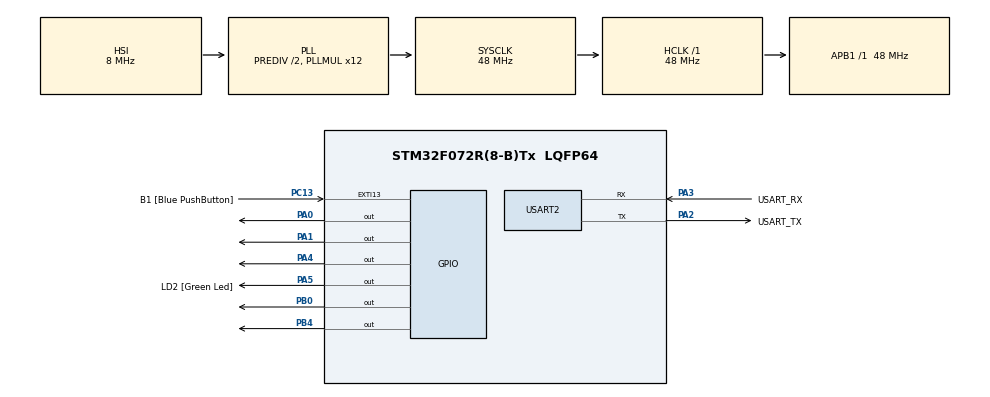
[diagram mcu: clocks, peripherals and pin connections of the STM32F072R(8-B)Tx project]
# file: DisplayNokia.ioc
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Mcu.Family=STM32F0
Mcu.Name=STM32F072R(8-B)Tx
Mcu.Package=LQFP64
PA0.Signal=GPIO_Output
PA1.Signal=GPIO_Output
PA13.GPIO_Label=TMS
PA13.Mode=Serial-WireDebug
PA13.Signal=SYS_SWDIO
PA14.GPIO_Label=TCK
PA14.Mode=Serial-WireDebug
PA14.Signal=SYS_SWCLK
PA2.GPIO_Label=USART_TX
PA2.GPIO_Mode=GPIO_MODE_AF_PP
PA2.GPIO_PuPd=GPIO_NOPULL
PA2.GPIO_Speed=GPIO_SPEED_LOW
PA2.Mode=Asynchronous
PA2.Signal=USART2_TX
PA3.GPIO_Label=USART_RX
PA3.GPIO_Mode=GPIO_MODE_AF_PP
PA3.GPIO_PuPd=GPIO_NOPULL
PA3.GPIO_Speed=GPIO_SPEED_LOW
PA3.Mode=Asynchronous
PA3.Signal=USART2_RX
PA4.Signal=GPIO_Output
PA5.GPIO_Label=LD2 [Green Led]
PA5.GPIO_Mode=GPIO_MODE_OUTPUT_PP
PA5.GPIO_PuPd=GPIO_NOPULL
PA5.GPIO_Speed=GPIO_SPEED_LOW
PA5.Signal=GPIO_Output
PB0.Signal=GPIO_Output
PB4.Signal=GPIO_Output
PC13.GPIO_Label=B1 [Blue PushButton]
PC13.GPIO_ModeDefaultEXTI=GPIO_MODE_EVT_RISING
PC13.Signal=GPXTI13
PC14-OSC32_IN.Signal=RCC_OSC32_IN
PC15-OSC32_OUT.Signal=RCC_OSC32_OUT
PF0-OSC_IN.Signal=RCC_OSC_IN
PF1-OSC_OUT.Signal=RCC_OSC_OUT
ProjectManager.TargetToolchain=MDK-ARM V5
RCC.AHBFreq_Value=48000000
RCC.APB1Freq_Value=48000000
RCC.APB1TimFreq_Value=48000000
RCC.FLatency-AdvancedSettings=FLASH_LATENCY_1
RCC.HCLKFreq_Value=48000000
RCC.PLLDivider=RCC_PREDIV_DIV2
RCC.PLLMUL=RCC_PLL_MUL12
RCC.SYSCLKFreq_VALUE=48000000
RCC.SYSCLKSource=RCC_SYSCLKSOURCE_PLLCLK
USART2.WordLength=UART_WORDLENGTH_8B
board=NUCLEO-F072RB

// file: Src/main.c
/**
  ******************************************************************************
  * File Name          : main.c
  * Description        : Main program body
  ******************************************************************************
  *
  * COPYRIGHT(c) 2016 STMicroelectronics
  *
  * Redistribution and use in source and binary forms, with or without modification,
  * are permitted provided that the following conditions are met:
  *   1. Redistributions of source code must retain the above copyright notice,
  *      this list of conditions and the following disclaimer.
  *   2. Redistributions in binary form must reproduce the above copyright notice,
  *      this list of conditions and the following disclaimer in the documentation
  *      and/or other materials provided with the distribution.
  *   3. Neither the name of STMicroelectronics nor the names of its contributors
  *      may be used to endorse or promote products derived from this software
  *      without specific prior written permission.
  *
  * THIS SOFTWARE IS PROVIDED BY THE COPYRIGHT HOLDERS AND CONTRIBUTORS "AS IS"
  * AND ANY EXPRESS OR IMPLIED WARRANTIES, INCLUDING, BUT NOT LIMITED TO, THE
  * IMPLIED WARRANTIES OF MERCHANTABILITY AND FITNESS FOR A PARTICULAR PURPOSE ARE
  * DISCLAIMED. IN NO EVENT SHALL THE COPYRIGHT HOLDER OR CONTRIBUTORS BE LIABLE
  * FOR ANY DIRECT, INDIRECT, INCIDENTAL, SPECIAL, EXEMPLARY, OR CONSEQUENTIAL
  * DAMAGES (INCLUDING, BUT NOT LIMITED TO, PROCUREMENT OF SUBSTITUTE GOODS OR
  * SERVICES; LOSS OF USE, DATA, OR PROFITS; OR BUSINESS INTERRUPTION) HOWEVER
  * CAUSED AND ON ANY THEORY OF LIABILITY, WHETHER IN CONTRACT, STRICT LIABILITY,
  * OR TORT (INCLUDING NEGLIGENCE OR OTHERWISE) ARISING IN ANY WAY OUT OF THE USE
  * OF THIS SOFTWARE, EVEN IF ADVISED OF THE POSSIBILITY OF SUCH DAMAGE.
  *
  ******************************************************************************
  */
#include "stm32f0xx_hal.h"

/* USER CODE BEGIN Includes */

#include <string.h>

/* USER CODE END Includes */

UART_HandleTypeDef huart2;

/* USER CODE BEGIN PV */
/* Private variables ---------------------------------------------------------*/

/*
  Commands and Color specification codes (Epson S1D15G00)
  Author: Nicolas Nascimento (nicolas.nascimento@acad.pucrs.br)
*/

#define NOP   			0x00   		// NOP
#define SWRESET  		0x01      // Software reset
#define BSTROFF  		0x02      // Booster Voltage Off
#define BSTRON  		0x03      // Booster Voltage On
#define RDDIDIF  		0x04      // Read display identification
#define RDDST  			0x09      // Read display status
#define SLEEPIN   	0x10      // Sleep in
#define SLEEPOUT  	0x11      // Sleep out
#define PTLON   		0x12      // Partial display mode
#define NORON   		0x13      // Display normal mode
#define INVOFF  		0x20      // Inversion off
#define INVON 			0x21      // Inversion on
#define DALO   			0x22      // All pixel off
#define DAL   			0x23      // All pixel on
#define SETCON   		0x25      // Write contrast
#define DISPOFF  		0x28      // Display off
#define DISPON   		0x29      // Display on
#define CASET  			0x2A      // Column address set
#define PASET  			0x2B      // Page address set
#define RAMWR 			0x2C      // Memory write
#define RGBSET   		0x2D      // Color set
#define PTLAR  			0x30      // Partial area
#define VSCRDEF  		0x33      // Vertical scrolling definition
#define TEOFF  			0x34      // Test mode
#define TEON   			0x35      // Test mode
#define MADCTL 			0x36      // Memory access control
#define SEP  				0x37      // Vertical scrolling start address
#define IDMOFF  		0x38      // Idle mode off
#define IDMON  			0x39      // Idle mode on
#define COLMOD   		0x3A      // Interface pixel format
#define SETVOP   		0xB0      // Set vop
#define BRS 				0xB4      // Bottom row swap
#define TRS 				0xB6      // Top row swap
#define DISCTR     	0xB9      // Display control
#define DOR     		0xBA      // Data order
#define TCDFE     	0xBD      // Enable/Disable DF Temperature compensation
#define TCVOPE     	0xBF      // Enable/Disable VOP Temp. comp
#define EC     			0xC0      // Internal or external oscilator
#define SETMUL     	0xC2      // Set multiplication factor
#define TCVOPAB     0xC3      // Set TCVOP Slopes A and B
#define TCVOPCD     0xC4      // Set TCVOP Slopes C and D
#define TCDF     		0xC5      // Set divider frequency
#define DF8COLOR    0xC6      // Set divider frequency 8-color mode
#define SETBS     	0xC7      // Set bias system
#define RDTEMP     	0xC8      // Temperature read back
#define NLI 				0xC9			// N-line inversion
#define RDID1 			0xDA			// Read ID1
#define RDID2 			0xDB			// Read ID2
#define RDID3 			0xDC			// Read ID3

// Backlight
#define BKLGHT_LCD_ON   1
#define BKLGHT_LCD_OFF  2

// Booleans
#define NOFILL          0
#define FILL            1

// 12-bit color definitions
#define WHITE           0xFFF
#define BLACK           0x000
#define RED             0xF00
#define GREEN           0x0F0
#define BLUE            0x00F
#define CYAN            0x0FF
#define MAGENTA         0xF0F
#define YELLOW          0xFF0
#define BROWN           0xB22
#define ORANGE          0xFA0
#define PINK            0xF6A

// Font sizes
#define SMALL           0
#define MEDIUM          1
#define LARGE           2

// Bit definition
#define BIT(N) (1<<N)

// Hardware definitions
#define SPI_SR_TXEMPTY
#define LCD_RESET_LOW   (GPIOA->BRR = BIT(0))
#define LCD_RESET_HIGH  (GPIOA->BSRR = BIT(0))

const unsigned char FONT6x8[97][8] = {
0x06,0x08,0x08,0x00,0x00,0x00,0x00,0x00,            // Columns, rows, num_bytes_per_char
0x00,0x00,0x00,0x00,0x00,0x00,0x00,0x00,            // space  0x20
0x20,0x20,0x20,0x20,0x20,0x00,0x20,0x00,            // !
0x50,0x50,0x50,0x00,0x00,0x00,0x00,0x00,            // "
0x50,0x50,0xF8,0x50,0xF8,0x50,0x50,0x00,            // #
0x20,0x78,0xA0,0x70,0x28,0xF0,0x20,0x00,            // $
0xC0,0xC8,0x10,0x20,0x40,0x98,0x18,0x00,            // %
0x40,0xA0,0xA0,0x40,0xA8,0x90,0x68,0x00,            // &
0x30,0x30,0x20,0x40,0x00,0x00,0x00,0x00,            // '
0x10,0x20,0x40,0x40,0x40,0x20,0x10,0x00,            // (
0x40,0x20,0x10,0x10,0x10,0x20,0x40,0x00,            // )
0x00,0x20,0xA8,0x70,0x70,0xA8,0x20,0x00,            // *
0x00,0x20,0x20,0xF8,0x20,0x20,0x00,0x00,            // +
0x00,0x00,0x00,0x00,0x30,0x30,0x20,0x40,            // ,
0x00,0x00,0x00,0xF8,0x00,0x00,0x00,0x00,            // -
0x00,0x00,0x00,0x00,0x00,0x30,0x30,0x00,            // .
0x00,0x08,0x10,0x20,0x40,0x80,0x00,0x00,            // / (forward slash)
0x70,0x88,0x88,0xA8,0x88,0x88,0x70,0x00,            // 0
0x20,0x60,0x20,0x20,0x20,0x20,0x70,0x00,            // 1
0x70,0x88,0x08,0x70,0x80,0x80,0xF8,0x00,            // 2
0xF8,0x08,0x10,0x30,0x08,0x88,0x70,0x00,            // 3
0x10,0x30,0x50,0x90,0xF8,0x10,0x10,0x00,            // 4
0xF8,0x80,0xF0,0x08,0x08,0x88,0x70,0x00,            // 5
0x38,0x40,0x80,0xF0,0x88,0x88,0x70,0x00,            // 6
0xF8,0x08,0x08,0x10,0x20,0x40,0x80,0x00,            // 7
0x70,0x88,0x88,0x70,0x88,0x88,0x70,0x00,            // 8
0x70,0x88,0x88,0x78,0x08,0x10,0xE0,0x00,            // 9
0x00,0x00,0x20,0x00,0x20,0x00,0x00,0x00,            // :
0x00,0x00,0x20,0x00,0x20,0x20,0x40,0x00,            // ;
0x08,0x10,0x20,0x40,0x20,0x10,0x08,0x00,            // <
0x00,0x00,0xF8,0x00,0xF8,0x00,0x00,0x00,            // =
0x40,0x20,0x10,0x08,0x10,0x20,0x40,0x00,            // >
0x70,0x88,0x08,0x30,0x20,0x00,0x20,0x00,            // ?
0x70,0x88,0xA8,0xB8,0xB0,0x80,0x78,0x00,            // @
0x20,0x50,0x88,0x88,0xF8,0x88,0x88,0x00,            // A
0xF0,0x88,0x88,0xF0,0x88,0x88,0xF0,0x00,            // B
0x70,0x88,0x80,0x80,0x80,0x88,0x70,0x00,            // C
0xF0,0x88,0x88,0x88,0x88,0x88,0xF0,0x00,            // D
0xF8,0x80,0x80,0xF0,0x80,0x80,0xF8,0x00,            // E
0xF8,0x80,0x80,0xF0,0x80,0x80,0x80,0x00,            // F
0x78,0x88,0x80,0x80,0x98,0x88,0x78,0x00,            // G
0x88,0x88,0x88,0xF8,0x88,0x88,0x88,0x00,            // H
0x70,0x20,0x20,0x20,0x20,0x20,0x70,0x00,            // I
0x38,0x10,0x10,0x10,0x10,0x90,0x60,0x00,            // J
0x88,0x90,0xA0,0xC0,0xA0,0x90,0x88,0x00,            // K
0x80,0x80,0x80,0x80,0x80,0x80,0xF8,0x00,            // L
0x88,0xD8,0xA8,0xA8,0xA8,0x88,0x88,0x00,            // M
0x88,0x88,0xC8,0xA8,0x98,0x88,0x88,0x00,            // N
0x70,0x88,0x88,0x88,0x88,0x88,0x70,0x00,            // O
0xF0,0x88,0x88,0xF0,0x80,0x80,0x80,0x00,            // P
0x70,0x88,0x88,0x88,0xA8,0x90,0x68,0x00,            // Q
0xF0,0x88,0x88,0xF0,0xA0,0x90,0x88,0x00,            // R
0x70,0x88,0x80,0x70,0x08,0x88,0x70,0x00,            // S
0xF8,0xA8,0x20,0x20,0x20,0x20,0x20,0x00,            // T
0x88,0x88,0x88,0x88,0x88,0x88,0x70,0x00,            // U
0x88,0x88,0x88,0x88,0x88,0x50,0x20,0x00,            // V
0x88,0x88,0x88,0xA8,0xA8,0xA8,0x50,0x00,            // W
0x88,0x88,0x50,0x20,0x50,0x88,0x88,0x00,            // X
0x88,0x88,0x50,0x20,0x20,0x20,0x20,0x00,            // Y
0xF8,0x08,0x10,0x70,0x40,0x80,0xF8,0x00,            // Z
0x78,0x40,0x40,0x40,0x40,0x40,0x78,0x00,            // [
0x00,0x80,0x40,0x20,0x10,0x08,0x00,0x00,            // (back slash)
0x78,0x08,0x08,0x08,0x08,0x08,0x78,0x00,            // ]
0x20,0x50,0x88,0x00,0x00,0x00,0x00,0x00,            // ^
0x00,0x00,0x00,0x00,0x00,0x00,0xF8,0x00,            // _
0x60,0x60,0x20,0x10,0x00,0x00,0x00,0x00,            // `
0x00,0x00,0x60,0x10,0x70,0x90,0x78,0x00,            // a
0x80,0x80,0xB0,0xC8,0x88,0xC8,0xB0,0x00,            // b
0x00,0x00,0x70,0x88,0x80,0x88,0x70,0x00,            // c
0x08,0x08,0x68,0x98,0x88,0x98,0x68,0x00,            // d
0x00,0x00,0x70,0x88,0xF8,0x80,0x70,0x00,            // e
0x10,0x28,0x20,0x70,0x20,0x20,0x20,0x00,            // f
0x00,0x00,0x70,0x98,0x98,0x68,0x08,0x70,            // g
0x80,0x80,0xB0,0xC8,0x88,0x88,0x88,0x00,            // h
0x20,0x00,0x60,0x20,0x20,0x20,0x70,0x00,            // i
0x10,0x00,0x10,0x10,0x10,0x90,0x60,0x00,            // j
0x80,0x80,0x90,0xA0,0xC0,0xA0,0x90,0x00,            // k
0x60,0x20,0x20,0x20,0x20,0x20,0x70,0x00,            // l
0x00,0x00,0xD0,0xA8,0xA8,0xA8,0xA8,0x00,            // m
0x00,0x00,0xB0,0xC8,0x88,0x88,0x88,0x00,            // n
0x00,0x00,0x70,0x88,0x88,0x88,0x70,0x00,            // o
0x00,0x00,0xB0,0xC8,0xC8,0xB0,0x80,0x80,            // p
0x00,0x00,0x68,0x98,0x98,0x68,0x08,0x08,            // q
0x00,0x00,0xB0,0xC8,0x80,0x80,0x80,0x00,            // r
0x00,0x00,0x78,0x80,0x70,0x08,0xF0,0x00,            // s
0x20,0x20,0xF8,0x20,0x20,0x28,0x10,0x00,            // t
0x00,0x00,0x88,0x88,0x88,0x98,0x68,0x00,            // u
0x00,0x00,0x88,0x88,0x88,0x50,0x20,0x00,            // v
0x00,0x00,0x88,0x88,0xA8,0xA8,0x50,0x00,            // w
0x00,0x00,0x88,0x50,0x20,0x50,0x88,0x00,            // x
0x00,0x00,0x88,0x88,0x78,0x08,0x88,0x70,            // y
0x00,0x00,0xF8,0x10,0x20,0x40,0xF8,0x00,            // z
0x10,0x20,0x20,0x40,0x20,0x20,0x10,0x00,            // {
0x20,0x20,0x20,0x00,0x20,0x20,0x20,0x00,            // |
0x40,0x20,0x20,0x10,0x20,0x20,0x40,0x00,            // }
0x40,0xA8,0x10,0x00,0x00,0x00,0x00,0x00,            // ~
0x70,0xD8,0xD8,0x70,0x00,0x00,0x00,0x00};           // DEL

const unsigned char FONT8x8[97][8] = {
0x08,0x08,0x08,0x00,0x00,0x00,0x00,0x00,  // columns, rows, num_bytes_per_char
0x00,0x00,0x00,0x00,0x00,0x00,0x00,0x00,  // space
0x30,0x78,0x78,0x30,0x30,0x00,0x30,0x00,  // !
0x6C,0x6C,0x6C,0x00,0x00,0x00,0x00,0x00,  // "
0x6C,0x6C,0xFE,0x6C,0xFE,0x6C,0x6C,0x00,  // #
0x18,0x3E,0x60,0x3C,0x06,0x7C,0x18,0x00,  // $
0x00,0x63,0x66,0x0C,0x18,0x33,0x63,0x00,  // %
0x1C,0x36,0x1C,0x3B,0x6E,0x66,0x3B,0x00,  // &
0x30,0x30,0x60,0x00,0x00,0x00,0x00,0x00,  // '
0x0C,0x18,0x30,0x30,0x30,0x18,0x0C,0x00,  // (
0x30,0x18,0x0C,0x0C,0x0C,0x18,0x30,0x00,  // )
0x00,0x66,0x3C,0xFF,0x3C,0x66,0x00,0x00,  // *
0x00,0x30,0x30,0xFC,0x30,0x30,0x00,0x00,  // +
0x00,0x00,0x00,0x00,0x00,0x18,0x18,0x30,  // ,
0x00,0x00,0x00,0x7E,0x00,0x00,0x00,0x00,  // -
0x00,0x00,0x00,0x00,0x00,0x18,0x18,0x00,  // .
0x03,0x06,0x0C,0x18,0x30,0x60,0x40,0x00,  // / (forward slash)
0x3E,0x63,0x63,0x6B,0x63,0x63,0x3E,0x00,  // 0
0x18,0x38,0x58,0x18,0x18,0x18,0x7E,0x00,  // 1
0x3C,0x66,0x06,0x1C,0x30,0x66,0x7E,0x00,  // 2
0x3C,0x66,0x06,0x1C,0x06,0x66,0x3C,0x00,  // 3
0x0E,0x1E,0x36,0x66,0x7F,0x06,0x0F,0x00,  // 4
0x7E,0x60,0x7C,0x06,0x06,0x66,0x3C,0x00,  // 5
0x1C,0x30,0x60,0x7C,0x66,0x66,0x3C,0x00,  // 6
0x7E,0x66,0x06,0x0C,0x18,0x18,0x18,0x00,  // 7
0x3C,0x66,0x66,0x3C,0x66,0x66,0x3C,0x00,  // 8
0x3C,0x66,0x66,0x3E,0x06,0x0C,0x38,0x00,  // 9
0x00,0x18,0x18,0x00,0x00,0x18,0x18,0x00,  // :
0x00,0x18,0x18,0x00,0x00,0x18,0x18,0x30,  // ;
0x0C,0x18,0x30,0x60,0x30,0x18,0x0C,0x00,  // <
0x00,0x00,0x7E,0x00,0x00,0x7E,0x00,0x00,  // =
0x30,0x18,0x0C,0x06,0x0C,0x18,0x30,0x00,  // >
0x3C,0x66,0x06,0x0C,0x18,0x00,0x18,0x00,  // ?
0x3E,0x63,0x6F,0x69,0x6F,0x60,0x3E,0x00,  // @
0x18,0x3C,0x66,0x66,0x7E,0x66,0x66,0x00,  // A
0x7E,0x33,0x33,0x3E,0x33,0x33,0x7E,0x00,  // B
0x1E,0x33,0x60,0x60,0x60,0x33,0x1E,0x00,  // C
0x7C,0x36,0x33,0x33,0x33,0x36,0x7C,0x00,  // D
0x7F,0x31,0x34,0x3C,0x34,0x31,0x7F,0x00,  // E
0x7F,0x31,0x34,0x3C,0x34,0x30,0x78,0x00,  // F
0x1E,0x33,0x60,0x60,0x67,0x33,0x1F,0x00,  // G
0x66,0x66,0x66,0x7E,0x66,0x66,0x66,0x00,  // H
0x3C,0x18,0x18,0x18,0x18,0x18,0x3C,0x00,  // I
0x0F,0x06,0x06,0x06,0x66,0x66,0x3C,0x00,  // J
0x73,0x33,0x36,0x3C,0x36,0x33,0x73,0x00,  // K
0x78,0x30,0x30,0x30,0x31,0x33,0x7F,0x00,  // L
0x63,0x77,0x7F,0x7F,0x6B,0x63,0x63,0x00,  // M
0x63,0x73,0x7B,0x6F,0x67,0x63,0x63,0x00,  // N
0x3E,0x63,0x63,0x63,0x63,0x63,0x3E,0x00,  // O
0x7E,0x33,0x33,0x3E,0x30,0x30,0x78,0x00,  // P
0x3C,0x66,0x66,0x66,0x6E,0x3C,0x0E,0x00,  // Q
0x7E,0x33,0x33,0x3E,0x36,0x33,0x73,0x00,  // R
0x3C,0x66,0x30,0x18,0x0C,0x66,0x3C,0x00,  // S
0x7E,0x5A,0x18,0x18,0x18,0x18,0x3C,0x00,  // T
0x66,0x66,0x66,0x66,0x66,0x66,0x7E,0x00,  // U
0x66,0x66,0x66,0x66,0x66,0x3C,0x18,0x00,  // V
0x63,0x63,0x63,0x6B,0x7F,0x77,0x63,0x00,  // W
0x63,0x63,0x36,0x1C,0x1C,0x36,0x63,0x00,  // X
0x66,0x66,0x66,0x3C,0x18,0x18,0x3C,0x00,  // Y
0x7F,0x63,0x46,0x0C,0x19,0x33,0x7F,0x00,  // Z
0x3C,0x30,0x30,0x30,0x30,0x30,0x3C,0x00,  // [
0x60,0x30,0x18,0x0C,0x06,0x03,0x01,0x00,  // (back slash)
0x3C,0x0C,0x0C,0x0C,0x0C,0x0C,0x3C,0x00,  // ]
0x08,0x1C,0x36,0x63,0x00,0x00,0x00,0x00,  // ^
0x00,0x00,0x00,0x00,0x00,0x00,0x00,0xFF,  // _
0x18,0x18,0x0C,0x00,0x00,0x00,0x00,0x00,   // `
0x00,0x00,0x3C,0x06,0x3E,0x66,0x3B,0x00,  // a
0x70,0x30,0x3E,0x33,0x33,0x33,0x6E,0x00,  // b
0x00,0x00,0x3C,0x66,0x60,0x66,0x3C,0x00,  // c
0x0E,0x06,0x3E,0x66,0x66,0x66,0x3B,0x00,  // d
0x00,0x00,0x3C,0x66,0x7E,0x60,0x3C,0x00,  // e
0x1C,0x36,0x30,0x78,0x30,0x30,0x78,0x00,  // f
0x00,0x00,0x3B,0x66,0x66,0x3E,0x06,0x7C,  // g
0x70,0x30,0x36,0x3B,0x33,0x33,0x73,0x00,  // h
0x18,0x00,0x38,0x18,0x18,0x18,0x3C,0x00,  // i
0x06,0x00,0x06,0x06,0x06,0x66,0x66,0x3C,  // j
0x70,0x30,0x33,0x36,0x3C,0x36,0x73,0x00,  // k
0x38,0x18,0x18,0x18,0x18,0x18,0x3C,0x00,  // l
0x00,0x00,0x66,0x7F,0x7F,0x6B,0x63,0x00,  // m
0x00,0x00,0x7C,0x66,0x66,0x66,0x66,0x00,  // n
0x00,0x00,0x3C,0x66,0x66,0x66,0x3C,0x00,  // o
0x00,0x00,0x6E,0x33,0x33,0x3E,0x30,0x78,  // p
0x00,0x00,0x3B,0x66,0x66,0x3E,0x06,0x0F,  // q
0x00,0x00,0x6E,0x3B,0x33,0x30,0x78,0x00,  // r
0x00,0x00,0x3E,0x60,0x3C,0x06,0x7C,0x00,  // s
0x08,0x18,0x3E,0x18,0x18,0x1A,0x0C,0x00,  // t
0x00,0x00,0x66,0x66,0x66,0x66,0x3B,0x00,  // u
0x00,0x00,0x66,0x66,0x66,0x3C,0x18,0x00,  // v
0x00,0x00,0x63,0x6B,0x7F,0x7F,0x36,0x00,  // w
0x00,0x00,0x63,0x36,0x1C,0x36,0x63,0x00,  // x
0x00,0x00,0x66,0x66,0x66,0x3E,0x06,0x7C,  // y
0x00,0x00,0x7E,0x4C,0x18,0x32,0x7E,0x00,  // z
0x0E,0x18,0x18,0x70,0x18,0x18,0x0E,0x00,  // {
0x0C,0x0C,0x0C,0x00,0x0C,0x0C,0x0C,0x00,  // |
0x70,0x18,0x18,0x0E,0x18,0x18,0x70,0x00,  // }
0x3B,0x6E,0x00,0x00,0x00,0x00,0x00,0x00,  // ~
0x1C,0x36,0x36,0x1C,0x00,0x00,0x00,0x00   // DEL
};

const unsigned char FONT8x16[97][16] = {
0x08,0x10,0x10,0x00,0x00,0x00,0x00,0x00,0x00,0x00,0x00,0x00,0x00,0x00,0x00,0x00,
0x00,0x00,0x00,0x00,0x00,0x00,0x00,0x00,0x00,0x00,0x00,0x00,0x00,0x00,0x00,0x00,
0x00,0x00,0x18,0x3C,0x3C,0x3C,0x18,0x18,0x18,0x00,0x18,0x18,0x00,0x00,0x00,0x00,
0x00,0x63,0x63,0x63,0x22,0x00,0x00,0x00,0x00,0x00,0x00,0x00,0x00,0x00,0x00,0x00,
0x00,0x00,0x00,0x36,0x36,0x7F,0x36,0x36,0x36,0x7F,0x36,0x36,0x00,0x00,0x00,0x00,
0x0C,0x0C,0x3E,0x63,0x61,0x60,0x3E,0x03,0x03,0x43,0x63,0x3E,0x0C,0x0C,0x00,0x00,
0x00,0x00,0x00,0x00,0x00,0x61,0x63,0x06,0x0C,0x18,0x33,0x63,0x00,0x00,0x00,0x00,
0x00,0x00,0x00,0x1C,0x36,0x36,0x1C,0x3B,0x6E,0x66,0x66,0x3B,0x00,0x00,0x00,0x00,
0x00,0x30,0x30,0x30,0x60,0x00,0x00,0x00,0x00,0x00,0x00,0x00,0x00,0x00,0x00,0x00,
0x00,0x00,0x0C,0x18,0x18,0x30,0x30,0x30,0x30,0x18,0x18,0x0C,0x00,0x00,0x00,0x00,
0x00,0x00,0x18,0x0C,0x0C,0x06,0x06,0x06,0x06,0x0C,0x0C,0x18,0x00,0x00,0x00,0x00,
0x00,0x00,0x00,0x00,0x42,0x66,0x3C,0xFF,0x3C,0x66,0x42,0x00,0x00,0x00,0x00,0x00,
0x00,0x00,0x00,0x00,0x18,0x18,0x18,0xFF,0x18,0x18,0x18,0x00,0x00,0x00,0x00,0x00,
0x00,0x00,0x00,0x00,0x00,0x00,0x00,0x00,0x00,0x00,0x18,0x18,0x18,0x30,0x00,0x00,
0x00,0x00,0x00,0x00,0x00,0x00,0x00,0xFF,0x00,0x00,0x00,0x00,0x00,0x00,0x00,0x00,
0x00,0x00,0x00,0x00,0x00,0x00,0x00,0x00,0x00,0x00,0x18,0x18,0x00,0x00,0x00,0x00,
0x00,0x00,0x01,0x03,0x07,0x0E,0x1C,0x38,0x70,0xE0,0xC0,0x80,0x00,0x00,0x00,0x00,
0x00,0x00,0x3E,0x63,0x63,0x63,0x6B,0x6B,0x63,0x63,0x63,0x3E,0x00,0x00,0x00,0x00,
0x00,0x00,0x0C,0x1C,0x3C,0x0C,0x0C,0x0C,0x0C,0x0C,0x0C,0x3F,0x00,0x00,0x00,0x00,
0x00,0x00,0x3E,0x63,0x03,0x06,0x0C,0x18,0x30,0x61,0x63,0x7F,0x00,0x00,0x00,0x00,
0x00,0x00,0x3E,0x63,0x03,0x03,0x1E,0x03,0x03,0x03,0x63,0x3E,0x00,0x00,0x00,0x00,
0x00,0x00,0x06,0x0E,0x1E,0x36,0x66,0x66,0x7F,0x06,0x06,0x0F,0x00,0x00,0x00,0x00,
0x00,0x00,0x7F,0x60,0x60,0x60,0x7E,0x03,0x03,0x63,0x73,0x3E,0x00,0x00,0x00,0x00,
0x00,0x00,0x1C,0x30,0x60,0x60,0x7E,0x63,0x63,0x63,0x63,0x3E,0x00,0x00,0x00,0x00,
0x00,0x00,0x7F,0x63,0x03,0x06,0x06,0x0C,0x0C,0x18,0x18,0x18,0x00,0x00,0x00,0x00,
0x00,0x00,0x3E,0x63,0x63,0x63,0x3E,0x63,0x63,0x63,0x63,0x3E,0x00,0x00,0x00,0x00,
0x00,0x00,0x3E,0x63,0x63,0x63,0x63,0x3F,0x03,0x03,0x06,0x3C,0x00,0x00,0x00,0x00,
0x00,0x00,0x00,0x00,0x00,0x18,0x18,0x00,0x00,0x00,0x18,0x18,0x00,0x00,0x00,0x00,
0x00,0x00,0x00,0x00,0x00,0x18,0x18,0x00,0x00,0x00,0x18,0x18,0x18,0x30,0x00,0x00,
0x00,0x00,0x00,0x06,0x0C,0x18,0x30,0x60,0x30,0x18,0x0C,0x06,0x00,0x00,0x00,0x00,
0x00,0x00,0x00,0x00,0x00,0x00,0x7E,0x00,0x00,0x7E,0x00,0x00,0x00,0x00,0x00,0x00,
0x00,0x00,0x00,0x60,0x30,0x18,0x0C,0x06,0x0C,0x18,0x30,0x60,0x00,0x00,0x00,0x00,
0x00,0x00,0x3E,0x63,0x63,0x06,0x0C,0x0C,0x0C,0x00,0x0C,0x0C,0x00,0x00,0x00,0x00,
0x00,0x00,0x3E,0x63,0x63,0x6F,0x6B,0x6B,0x6E,0x60,0x60,0x3E,0x00,0x00,0x00,0x00,
0x00,0x00,0x08,0x1C,0x36,0x63,0x63,0x63,0x7F,0x63,0x63,0x63,0x00,0x00,0x00,0x00,
0x00,0x00,0x7E,0x33,0x33,0x33,0x3E,0x33,0x33,0x33,0x33,0x7E,0x00,0x00,0x00,0x00,
0x00,0x00,0x1E,0x33,0x61,0x60,0x60,0x60,0x60,0x61,0x33,0x1E,0x00,0x00,0x00,0x00,
0x00,0x00,0x7C,0x36,0x33,0x33,0x33,0x33,0x33,0x33,0x36,0x7C,0x00,0x00,0x00,0x00,
0x00,0x00,0x7F,0x33,0x31,0x34,0x3C,0x34,0x30,0x31,0x33,0x7F,0x00,0x00,0x00,0x00,
0x00,0x00,0x7F,0x33,0x31,0x34,0x3C,0x34,0x30,0x30,0x30,0x78,0x00,0x00,0x00,0x00,
0x00,0x00,0x1E,0x33,0x61,0x60,0x60,0x6F,0x63,0x63,0x37,0x1D,0x00,0x00,0x00,0x00,
0x00,0x00,0x63,0x63,0x63,0x63,0x7F,0x63,0x63,0x63,0x63,0x63,0x00,0x00,0x00,0x00,
0x00,0x00,0x3C,0x18,0x18,0x18,0x18,0x18,0x18,0x18,0x18,0x3C,0x00,0x00,0x00,0x00,
0x00,0x00,0x0F,0x06,0x06,0x06,0x06,0x06,0x06,0x66,0x66,0x3C,0x00,0x00,0x00,0x00,
0x00,0x00,0x73,0x33,0x36,0x36,0x3C,0x36,0x36,0x33,0x33,0x73,0x00,0x00,0x00,0x00,
0x00,0x00,0x78,0x30,0x30,0x30,0x30,0x30,0x30,0x31,0x33,0x7F,0x00,0x00,0x00,0x00,
0x00,0x00,0x63,0x77,0x7F,0x6B,0x63,0x63,0x63,0x63,0x63,0x63,0x00,0x00,0x00,0x00,
0x00,0x00,0x63,0x63,0x73,0x7B,0x7F,0x6F,0x67,0x63,0x63,0x63,0x00,0x00,0x00,0x00,
0x00,0x00,0x1C,0x36,0x63,0x63,0x63,0x63,0x63,0x63,0x36,0x1C,0x00,0x00,0x00,0x00,
0x00,0x00,0x7E,0x33,0x33,0x33,0x3E,0x30,0x30,0x30,0x30,0x78,0x00,0x00,0x00,0x00,
0x00,0x00,0x3E,0x63,0x63,0x63,0x63,0x63,0x63,0x6B,0x6F,0x3E,0x06,0x07,0x00,0x00,
0x00,0x00,0x7E,0x33,0x33,0x33,0x3E,0x36,0x36,0x33,0x33,0x73,0x00,0x00,0x00,0x00,
0x00,0x00,0x3E,0x63,0x63,0x30,0x1C,0x06,0x03,0x63,0x63,0x3E,0x00,0x00,0x00,0x00,
0x00,0x00,0xFF,0xDB,0x99,0x18,0x18,0x18,0x18,0x18,0x18,0x3C,0x00,0x00,0x00,0x00,
0x00,0x00,0x63,0x63,0x63,0x63,0x63,0x63,0x63,0x63,0x63,0x3E,0x00,0x00,0x00,0x00,
0x00,0x00,0x63,0x63,0x63,0x63,0x63,0x63,0x63,0x36,0x1C,0x08,0x00,0x00,0x00,0x00,
0x00,0x00,0x63,0x63,0x63,0x63,0x63,0x6B,0x6B,0x7F,0x36,0x36,0x00,0x00,0x00,0x00,
0x00,0x00,0xC3,0xC3,0x66,0x3C,0x18,0x18,0x3C,0x66,0xC3,0xC3,0x00,0x00,0x00,0x00,
0x00,0x00,0xC3,0xC3,0xC3,0x66,0x3C,0x18,0x18,0x18,0x18,0x3C,0x00,0x00,0x00,0x00,
0x00,0x00,0x7F,0x63,0x43,0x06,0x0C,0x18,0x30,0x61,0x63,0x7F,0x00,0x00,0x00,0x00,
0x00,0x00,0x3C,0x30,0x30,0x30,0x30,0x30,0x30,0x30,0x30,0x3C,0x00,0x00,0x00,0x00,
0x00,0x00,0x80,0xC0,0xE0,0x70,0x38,0x1C,0x0E,0x07,0x03,0x01,0x00,0x00,0x00,0x00,
0x00,0x00,0x3C,0x0C,0x0C,0x0C,0x0C,0x0C,0x0C,0x0C,0x0C,0x3C,0x00,0x00,0x00,0x00,
0x08,0x1C,0x36,0x63,0x00,0x00,0x00,0x00,0x00,0x00,0x00,0x00,0x00,0x00,0x00,0x00,
0x00,0x00,0x00,0x00,0x00,0x00,0x00,0x00,0x00,0x00,0x00,0x00,0xFF,0x00,0x00,0x00,
0x18,0x18,0x0C,0x00,0x00,0x00,0x00,0x00,0x00,0x00,0x00,0x00,0x00,0x00,0x00,0x00,
0x00,0x00,0x00,0x00,0x00,0x3C,0x46,0x06,0x3E,0x66,0x66,0x3B,0x00,0x00,0x00,0x00,
0x00,0x00,0x70,0x30,0x30,0x3C,0x36,0x33,0x33,0x33,0x33,0x6E,0x00,0x00,0x00,0x00,
0x00,0x00,0x00,0x00,0x00,0x3E,0x63,0x60,0x60,0x60,0x63,0x3E,0x00,0x00,0x00,0x00,
0x00,0x00,0x0E,0x06,0x06,0x1E,0x36,0x66,0x66,0x66,0x66,0x3B,0x00,0x00,0x00,0x00,
0x00,0x00,0x00,0x00,0x00,0x3E,0x63,0x63,0x7E,0x60,0x63,0x3E,0x00,0x00,0x00,0x00,
0x00,0x00,0x1C,0x36,0x32,0x30,0x7C,0x30,0x30,0x30,0x30,0x78,0x00,0x00,0x00,0x00,
0x00,0x00,0x00,0x00,0x00,0x3B,0x66,0x66,0x66,0x66,0x3E,0x06,0x66,0x3C,0x00,0x00,
0x00,0x00,0x70,0x30,0x30,0x36,0x3B,0x33,0x33,0x33,0x33,0x73,0x00,0x00,0x00,0x00,
0x00,0x00,0x0C,0x0C,0x00,0x1C,0x0C,0x0C,0x0C,0x0C,0x0C,0x1E,0x00,0x00,0x00,0x00,
0x00,0x00,0x06,0x06,0x00,0x0E,0x06,0x06,0x06,0x06,0x06,0x66,0x66,0x3C,0x00,0x00,
0x00,0x00,0x70,0x30,0x30,0x33,0x33,0x36,0x3C,0x36,0x33,0x73,0x00,0x00,0x00,0x00,
0x00,0x00,0x1C,0x0C,0x0C,0x0C,0x0C,0x0C,0x0C,0x0C,0x0C,0x1E,0x00,0x00,0x00,0x00,
0x00,0x00,0x00,0x00,0x00,0x6E,0x7F,0x6B,0x6B,0x6B,0x6B,0x6B,0x00,0x00,0x00,0x00,
0x00,0x00,0x00,0x00,0x00,0x6E,0x33,0x33,0x33,0x33,0x33,0x33,0x00,0x00,0x00,0x00,
0x00,0x00,0x00,0x00,0x00,0x3E,0x63,0x63,0x63,0x63,0x63,0x3E,0x00,0x00,0x00,0x00,
0x00,0x00,0x00,0x00,0x00,0x6E,0x33,0x33,0x33,0x33,0x3E,0x30,0x30,0x78,0x00,0x00,
0x00,0x00,0x00,0x00,0x00,0x3B,0x66,0x66,0x66,0x66,0x3E,0x06,0x06,0x0F,0x00,0x00,
0x00,0x00,0x00,0x00,0x00,0x6E,0x3B,0x33,0x30,0x30,0x30,0x78,0x00,0x00,0x00,0x00,
0x00,0x00,0x00,0x00,0x00,0x3E,0x63,0x38,0x0E,0x03,0x63,0x3E,0x00,0x00,0x00,0x00,
0x00,0x00,0x08,0x18,0x18,0x7E,0x18,0x18,0x18,0x18,0x1B,0x0E,0x00,0x00,0x00,0x00,
0x00,0x00,0x00,0x00,0x00,0x66,0x66,0x66,0x66,0x66,0x66,0x3B,0x00,0x00,0x00,0x00,
0x00,0x00,0x00,0x00,0x00,0x63,0x63,0x36,0x36,0x1C,0x1C,0x08,0x00,0x00,0x00,0x00,
0x00,0x00,0x00,0x00,0x00,0x63,0x63,0x63,0x6B,0x6B,0x7F,0x36,0x00,0x00,0x00,0x00,
0x00,0x00,0x00,0x00,0x00,0x63,0x36,0x1C,0x1C,0x1C,0x36,0x63,0x00,0x00,0x00,0x00,
0x00,0x00,0x00,0x00,0x00,0x63,0x63,0x63,0x63,0x63,0x3F,0x03,0x06,0x3C,0x00,0x00,
0x00,0x00,0x00,0x00,0x00,0x7F,0x66,0x0C,0x18,0x30,0x63,0x7F,0x00,0x00,0x00,0x00,
0x00,0x00,0x0E,0x18,0x18,0x18,0x70,0x18,0x18,0x18,0x18,0x0E,0x00,0x00,0x00,0x00,
0x00,0x00,0x18,0x18,0x18,0x18,0x18,0x00,0x18,0x18,0x18,0x18,0x18,0x00,0x00,0x00,
0x00,0x00,0x70,0x18,0x18,0x18,0x0E,0x18,0x18,0x18,0x18,0x70,0x00,0x00,0x00,0x00,
0x00,0x00,0x3B,0x6E,0x00,0x00,0x00,0x00,0x00,0x00,0x00,0x00,0x00,0x00,0x00,0x00,
0x00,0x70,0xD8,0xD8,0x70,0x00,0x00,0x00,0x00,0x00,0x00,0x00,0x00,0x00,0x00,0x00
};

/* USER CODE END PV */

void SystemClock_Config(void);
static void MX_GPIO_Init(void);
static void MX_USART2_UART_Init(void);

/* USER CODE BEGIN PFP */
/* Private function prototypes -----------------------------------------------*/

void uart_put_str(char* string) {
	char string_to_s[strlen(string) + 1];
	strcpy(string_to_s, string);
	strcat(string_to_s, "\n");
	HAL_UART_Transmit(&huart2, (uint8_t*)string_to_s, strlen(string_to_s), 1000);
	HAL_Delay(50);
}

void write_spi(uint32_t data) {

	int i;
	uint32_t mask = 0x100;
  GPIOB->BRR = BIT(0); // CS = 0
	GPIOA->BSRR = BIT(5); // LED = 1
	__NOP();
	__NOP();
	__NOP();
	__NOP();
	__NOP();

  GPIOA->BRR = BIT(4); // SCLK = 0
	do {
    if(data & mask) GPIOA->BSRR = BIT(1);
		else GPIOA->BRR = BIT(1);

		__NOP();
		__NOP();
		__NOP();
		__NOP();
		__NOP();
    GPIOA->BSRR = BIT(4); // SCLK = 1

    __NOP();
		__NOP();
		__NOP();
		__NOP();
		__NOP();
    GPIOA->BRR = BIT(4); // SCLK = 0

    mask >>= 1;
	}while(mask != 0);

	GPIOB->BSRR = BIT(0); // CS = 1
	GPIOA->BRR = BIT(5); // LED = 0

	__NOP();
	__NOP();
	__NOP();
	__NOP();
	__NOP();
	__NOP();
}

void write_spi_command(uint32_t command) {
  // clear bit 8 - indicates a "command"
  command = (command & ~0x0100);
	write_spi(command);
}

void write_spi_data(uint32_t data) {
  // set bit 8 - indicating a "command"
  data = (data | 0x0100);
	write_spi(data);
}

void backlight(unsigned char state) {
  // The shield was build in a way the backlight cannot be mannualy controlled.
  // So this does nothing
}

void init_lcd(void) {

  // Hardware reset
  LCD_RESET_LOW;
  HAL_Delay(10);
  LCD_RESET_HIGH;
  HAL_Delay(10);

	uart_put_str("init_lcd");

  // Display control
  write_spi_command(SLEEPOUT);

	write_spi_command(INVON);

	write_spi_command(COLMOD);
	write_spi_data(0x03);

	write_spi_command(MADCTL);
	write_spi_data(0xC8);

	write_spi_command(SETCON);
	write_spi_data(0x30);

	HAL_Delay(10);

	write_spi_command(DISPON);
}

void lcd_write_130_130_bmp(void) {
  // This function should get a picture defined in bmp.h and show it
  // Because we won't be dealing with images, this does nothing

}

void lcd_clear_screen(void) {
  long i;

	uart_put_str("lcd_clear_screen");

  // Row address set  (command 0x2B)
  write_spi_command(PASET);
  write_spi_data(0);
  write_spi_data(131);
  // loop counter
  // Column address set  (command 0x2A)
  write_spi_command(CASET);
  write_spi_data(0);
  write_spi_data(131);
  // set the display memory to BLACK
  write_spi_command(RAMWR);
  for(i = 0; i < ((131 * 131) / 2); i++) {
    write_spi_data((BLACK >> 4) & 0xFF);
    write_spi_data(((BLACK & 0xF) << 4) | ((BLACK >> 8) & 0xF));
    write_spi_data(BLACK & 0xFF);
  }
}

void lcd_set_pixel(int x, int y, int color) {

  // Row address set  (command 0x2B)
  write_spi_command(PASET);
  write_spi_data(x);
  write_spi_data(x);
  // Column address set  (command 0x2A)
  write_spi_command(CASET);
  write_spi_data(y);
  write_spi_data(y);
  // Now illuminate the pixel (2nd pixel will be ignored)
  write_spi_command(RAMWR);
  write_spi_data((color >> 4) & 0xFF);
  write_spi_data(((color & 0xF) << 4) | ((color >> 8) & 0xF));
  write_spi_data(color & 0xFF);
}

void lcd_set_line(int x0, int y0, int x1, int y1, int color) {
  int dy = y1 - y0;
  int dx = x1 - x0;
  int stepx, stepy;

  if(dy < 0){
    dy=-dy;
    stepy=-1;
  }else{
    stepy=1;
  }
  if( dx < 0 ){
    dx=-dx;
    stepx=-1;
  }else{
    stepx=1;
  }
  dy <<= 1; // dy is now 2*dy
  dx <<= 1; // dx is now 2*dx

  lcd_set_pixel(x0, y0, color);
  if (dx > dy) {
    int fraction = dy - (dx >> 1);// same as 2*dy - dx
    while (x0 != x1) {
      if (fraction >= 0) {
        y0 += stepy;
        fraction -= dx; // same as fraction -= 2*dx
      }
      x0 += stepx;
      fraction += dy; // same as fraction -= 2*dy
      lcd_set_pixel(x0, y0, color);
    }
  }else{
    int fraction = dx - (dy >> 1);
    while (y0 != y1) {
      if (fraction >= 0) {
        x0 += stepx;
        fraction -= dy;
      }
      y0 += stepy;
      fraction += dx;
      lcd_set_pixel(x0, y0, color);
    }
  }

}

void lcd_set_rect(int x0, int y0, int x1, int y1, unsigned char fill, int color) {
  int xmin, xmax, ymin, ymax;
  int i;
  // check if the rectangle is to be filled
  if (fill == FILL) {
    // best way to create a filled rectangle is to define a drawing box
    // and loop two pixels at a time
    // calculate the min and max for x and y directions
    xmin = (x0 <= x1) ? x0 : x1;
    xmax = (x0 > x1) ? x0 : x1;
    ymin = (y0 <= y1) ? y0 : y1;
    ymax = (y0 > y1) ? y0 : y1;
    // specify the controller drawing box according to those limits
    // Row address set (command 0x2B)
    write_spi_command(PASET);
    write_spi_data(xmin);
    write_spi_data(xmax);
    // Column address set  (command 0x2A)
    write_spi_command(CASET);
    write_spi_data(ymin);
    write_spi_data(ymax);
    // WRITE MEMORY
    write_spi_command(RAMWR);
    // loop on total number of pixels / 2
    for (i = 0; i < ((((xmax - xmin + 1) * (ymax - ymin + 1)) / 2) + 130); i++) {
      // use the color value to output three data bytes covering two pixels
      write_spi_data((color >> 4) & 0xFF);
      write_spi_data(((color & 0xF) << 4) | ((color >> 8) & 0xF));
      write_spi_data(color & 0xFF);
    }
  } else {
    // best way to draw un unfilled rectangle is to draw four lines
    lcd_set_line(x0, y0, x1, y0, color);
    lcd_set_line(x0, y1, x1, y1, color);
    lcd_set_line(x0, y0, x0, y1, color);
    lcd_set_line(x1, y0, x1, y1, color);
  }
}

void lcd_set_circle(int x0, int y0, int radius, int color) {
  int f = 1 - radius;
  int ddF_x = 0;
  int ddF_y = -2 * radius;
  int x = 0;
  int y = radius;
  lcd_set_pixel(x0, y0 + radius, color);
  lcd_set_pixel(x0, y0 - radius, color);
  lcd_set_pixel(x0 + radius, y0, color);
  lcd_set_pixel(x0 - radius, y0, color);

  while(x < y) {
    if(f >= 0) {
      y--;
      ddF_y += 2;
      f += ddF_y;
    }
    x++;
    ddF_x += 2;
    f += ddF_x + 1;
    lcd_set_pixel(x0 + x, y0 + y, color);
    lcd_set_pixel(x0 - x, y0 + y, color);
    lcd_set_pixel(x0 + x, y0 - y, color);
    lcd_set_pixel(x0 - x, y0 - y, color);
    lcd_set_pixel(x0 + y, y0 + x, color);
    lcd_set_pixel(x0 - y, y0 + x, color);
    lcd_set_pixel(x0 + y, y0 - x, color);
    lcd_set_pixel(x0 - y, y0 - x, color);
  }
}

void lcd_put_char(char c, int x, int y, int size, int fcolor, int bcolor) {
  /*extern const unsigned char FONT6x8[97][8];
  extern const unsigned char FONT8x8[97][8];
  extern const unsigned char FONT8x16[97][16];*/
  int i,j;
  unsigned int nCols;
  unsigned int nRows;
  unsigned int nBytes;
  unsigned char PixelRow;
  unsigned char Mask;

  unsigned int Word0;
  unsigned int Word1;
  unsigned char *pFont;
  unsigned char *pChar;
  unsigned char *FontTable[] = {(unsigned char *)FONT6x8, (unsigned char *)FONT8x8, (unsigned char *)FONT8x16};

  // get pointer to the beginning of the selected font table
  pFont = (unsigned char *)FontTable[size];
  // get the nColumns, nRows and nBytes
  nCols = *pFont;
  nRows = *(pFont + 1);
  nBytes = *(pFont + 2);
  // get pointer to the last byte of the desired character
  pChar = pFont + (nBytes * (c - 0x1F)) + nBytes - 1;
  // Row address set  (command 0x2B)
  write_spi_command(PASET);
  write_spi_data(x);
  write_spi_data(x + nRows - 1);
  // Column address set  (command 0x2A)
  write_spi_command(CASET);
  write_spi_data(y);
  write_spi_data(y + nCols - 1);

  // Write Memory
  write_spi_command(RAMWR);

  // loop on each row, working backwards from the bottom to the top for (i = nRows - 1; i >= 0; i--) {
  Mask = 0x80;
  for (i = nRows - 1; i >= 0; i--) {
    // copy pixel row from font table and then decrement row
    PixelRow = *pChar--;
    // loop on each pixel in the row (left to right)
    // Note: we do two pixels each loop
    Mask = 0x80;
    for (j = 0; j < nCols; j += 2) {
      // if pixel bit set, use foreground color; else use the background color
      // now get the pixel color for two successive pixels
      if((PixelRow & Mask) == 0) {
        Word0 = bcolor;
      } else {
        Word0 = fcolor;
      }
      Mask = Mask >> 1;
      if ((PixelRow & Mask) == 0) {
        Word1 = bcolor;
      } else {
        Word1 = fcolor;
      }
      Mask = Mask >> 1;
      // use this information to output three data bytes
      write_spi_data((Word0 >> 4) & 0xFF);
      write_spi_data(((Word0 & 0xF) << 4) | ((Word1 >> 8) & 0xF));
      write_spi_data(Word1 & 0xFF);
    }
  }
}

void lcd_put_str(char* string, int x, int y, int size, int fcolor, int bcolor) {
  // loop until null-terminator is seen
  while (*string != 0x00) {
    // draw the character
    lcd_put_char(*string++, x, y, size, fcolor, bcolor);
    // advance the y position
    if (size == SMALL) {
      y = y + 6;
    } else if (size == MEDIUM) {
      y = y + 8;
    } else {
      y = y + 8;
    }
    // bail out if y exceeds 131
    if (y > 131) break;
  }
}

/* USER CODE END PFP */

int main(void)
{

  /* MCU Configuration----------------------------------------------------------*/

  /* Reset of all peripherals, Initializes the Flash interface and the Systick. */
  HAL_Init();

  /* Configure the system clock */
  SystemClock_Config();

  /* Initialize all configured peripherals */
  MX_GPIO_Init();
  MX_USART2_UART_Init();

  /* USER CODE BEGIN 2 */

	init_lcd();
	HAL_Delay(1000);
  lcd_clear_screen();
	HAL_Delay(1000);
	lcd_set_circle(50, 50, 10, WHITE);

  /* USER CODE END 2 */

  /* Infinite loop */
  while (1)
  {

  }

}

/** System Clock Configuration
*/
void SystemClock_Config(void)
{

  RCC_OscInitTypeDef RCC_OscInitStruct;
  RCC_ClkInitTypeDef RCC_ClkInitStruct;
  RCC_PeriphCLKInitTypeDef PeriphClkInit;

  RCC_OscInitStruct.OscillatorType = RCC_OSCILLATORTYPE_HSI;
  RCC_OscInitStruct.HSIState = RCC_HSI_ON;
  RCC_OscInitStruct.HSICalibrationValue = 16;
  RCC_OscInitStruct.PLL.PLLState = RCC_PLL_ON;
  RCC_OscInitStruct.PLL.PLLSource = RCC_PLLSOURCE_HSI;
  RCC_OscInitStruct.PLL.PLLMUL = RCC_PLL_MUL12;
  RCC_OscInitStruct.PLL.PREDIV = RCC_PREDIV_DIV2;
  HAL_RCC_OscConfig(&RCC_OscInitStruct);

  RCC_ClkInitStruct.ClockType = RCC_CLOCKTYPE_SYSCLK;
  RCC_ClkInitStruct.SYSCLKSource = RCC_SYSCLKSOURCE_PLLCLK;
  RCC_ClkInitStruct.AHBCLKDivider = RCC_SYSCLK_DIV1;
  RCC_ClkInitStruct.APB1CLKDivider = RCC_HCLK_DIV1;
  HAL_RCC_ClockConfig(&RCC_ClkInitStruct, FLASH_LATENCY_1);

  PeriphClkInit.PeriphClockSelection = RCC_PERIPHCLK_USART2;
  PeriphClkInit.Usart2ClockSelection = RCC_USART2CLKSOURCE_PCLK1;
  HAL_RCCEx_PeriphCLKConfig(&PeriphClkInit);

  HAL_SYSTICK_Config(HAL_RCC_GetHCLKFreq()/1000);

  HAL_SYSTICK_CLKSourceConfig(SYSTICK_CLKSOURCE_HCLK);

  /* SysTick_IRQn interrupt configuration */
  HAL_NVIC_SetPriority(SysTick_IRQn, 0, 0);
}

/* USART2 init function */
void MX_USART2_UART_Init(void)
{

  huart2.Instance = USART2;
  huart2.Init.BaudRate = 38400;
  huart2.Init.WordLength = UART_WORDLENGTH_8B;
  huart2.Init.StopBits = UART_STOPBITS_1;
  huart2.Init.Parity = UART_PARITY_NONE;
  huart2.Init.Mode = UART_MODE_TX_RX;
  huart2.Init.HwFlowCtl = UART_HWCONTROL_NONE;
  huart2.Init.OverSampling = UART_OVERSAMPLING_16;
  huart2.Init.OneBitSampling = UART_ONEBIT_SAMPLING_DISABLED ;
  huart2.AdvancedInit.AdvFeatureInit = UART_ADVFEATURE_NO_INIT;
  HAL_UART_Init(&huart2);

}

/** Configure pins as
        * Analog
        * Input
        * Output
        * EVENT_OUT
        * EXTI
*/
void MX_GPIO_Init(void)
{

  GPIO_InitTypeDef GPIO_InitStruct;

  /* GPIO Ports Clock Enable */
  __GPIOC_CLK_ENABLE();
  __GPIOF_CLK_ENABLE();
  __GPIOA_CLK_ENABLE();
  __GPIOB_CLK_ENABLE();

  /*Configure GPIO pin : B1_Pin */
  GPIO_InitStruct.Pin = B1_Pin;
  GPIO_InitStruct.Mode = GPIO_MODE_EVT_RISING;
  GPIO_InitStruct.Pull = GPIO_NOPULL;
  HAL_GPIO_Init(B1_GPIO_Port, &GPIO_InitStruct);

  /*Configure GPIO pins : PA0 PA1 PA4 LD2_Pin */
  GPIO_InitStruct.Pin = GPIO_PIN_0|GPIO_PIN_1|GPIO_PIN_4|LD2_Pin;
  GPIO_InitStruct.Mode = GPIO_MODE_OUTPUT_PP;
  GPIO_InitStruct.Pull = GPIO_NOPULL;
  GPIO_InitStruct.Speed = GPIO_SPEED_LOW;
  HAL_GPIO_Init(GPIOA, &GPIO_InitStruct);

  /*Configure GPIO pins : PB0 PB4 */
  GPIO_InitStruct.Pin = GPIO_PIN_0|GPIO_PIN_4;
  GPIO_InitStruct.Mode = GPIO_MODE_OUTPUT_PP;
  GPIO_InitStruct.Pull = GPIO_NOPULL;
  GPIO_InitStruct.Speed = GPIO_SPEED_LOW;
  HAL_GPIO_Init(GPIOB, &GPIO_InitStruct);

}

/************************ (C) COPYRIGHT STMicroelectronics *****END OF FILE****/
